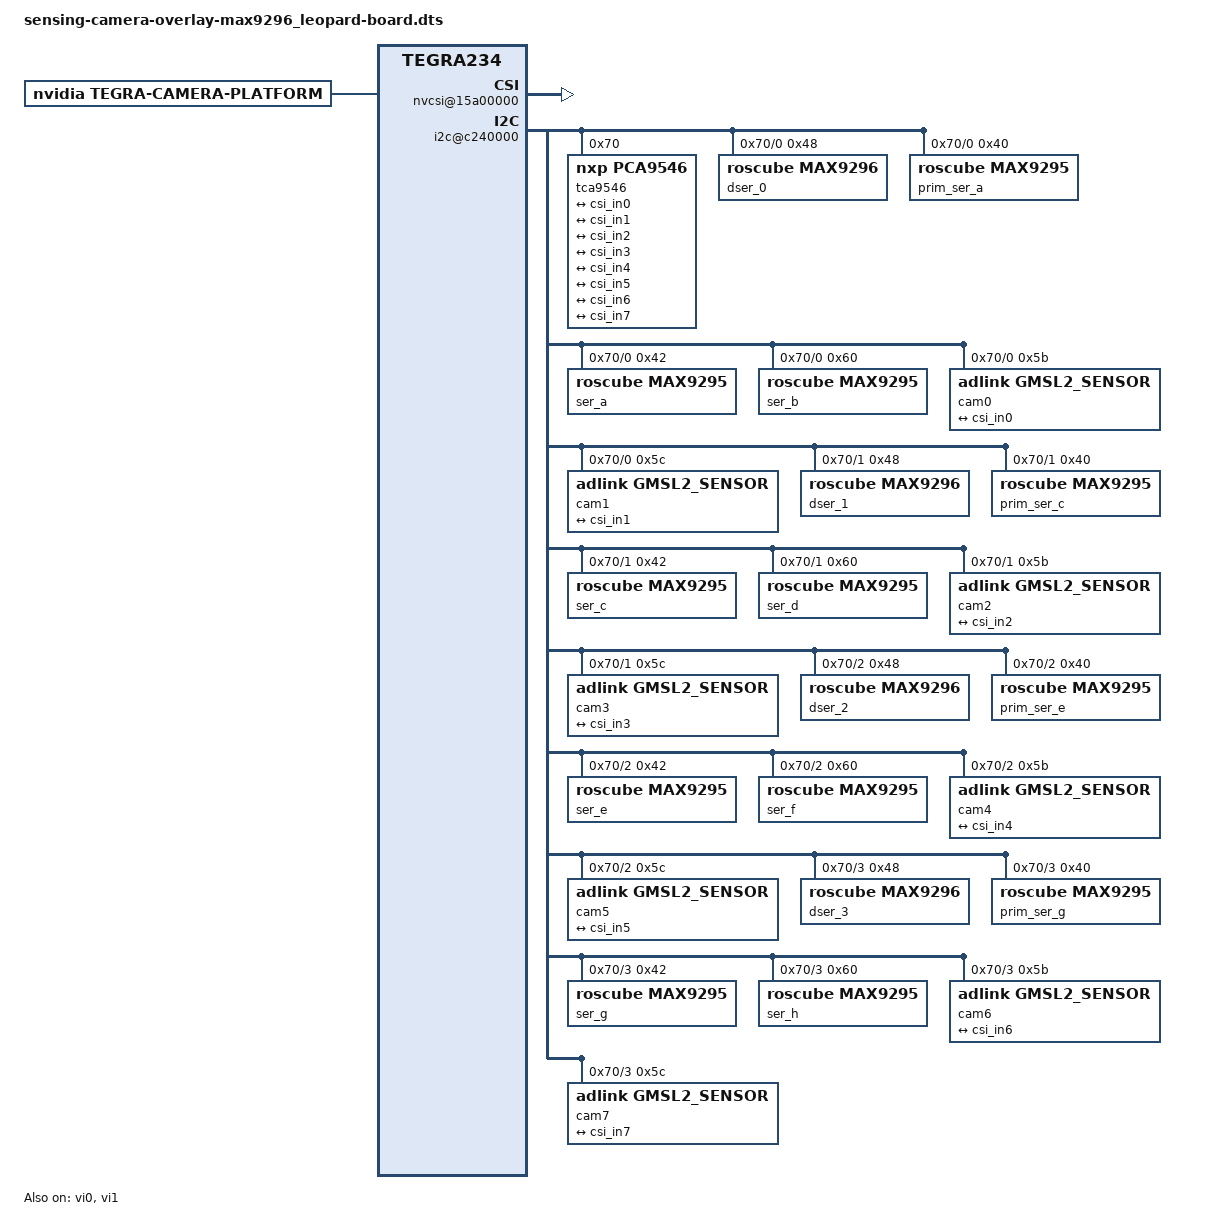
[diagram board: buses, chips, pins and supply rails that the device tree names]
/dts-v1/;
/plugin/;
 
/*
 * Copyright (c) 2017-2022, NVIDIA CORPORATION.  All rights reserved.
 *
 * This program is free software; you can redistribute it and/or modify it
 * under the terms and conditions of the GNU General Public License,
 * version 2, as published by the Free Software Foundation.
 *
 * This program is distributed in the hope it will be useful, but WITHOUT
 * ANY WARRANTY; without even the implied warranty of MERCHANTABILITY or
 * FITNESS FOR A PARTICULAR PURPOSE.  See the GNU General Public License for
 * more details.
 *
 * You should have received a copy of the GNU General Public License
 * along with this program.  If not, see <http://www.gnu.org/licenses/>.
 */
 
/ {
    overlay-name = "Sensing GMSL2 Camera Device Tree Overlay";
    compatible = "nvidia,p3737-0000+p3701-0000", "nvidia,tegra234", "nvidia,tegra23x";
    jetson-header-name = "Jetson AGX CSI Connector";


// ----- for VI -----
    fragment@0 {
      target = <&vi0>;
      __overlay__ {
        status = "okay";
      };
    };

    fragment@1 {
      target = <&vi1>;
      __overlay__ {
        status = "okay";
      };
    };

    fragment@2 {
      target-path = "/tegra-capture-vi";
      __overlay__ {
        status = "okay";
        num-channels = <8>;
        ports {
          #address-cells = <1>;
          #size-cells = <0>;
          port@0 {
            reg = <0>;
            vi_in0: endpoint {
              port-index = <0>;
              bus-width = <2>;
              vc-id = <0>;
              remote-endpoint = <&csi_out0>;
            };
          };
          port@1 {
            reg = <1>;
            vi_in1: endpoint {
              port-index = <0>;
              bus-width = <2>;
              vc-id = <1>;
              remote-endpoint = <&csi_out1>;
            };
          };
          port@2 {
            reg = <2>;
            vi_in2: endpoint {
              port-index = <2>;
              bus-width = <2>;
              vc-id = <0>;
              remote-endpoint = <&csi_out2>;
            };
          };
          port@3 {
            reg = <3>;
            vi_in3: endpoint {
              port-index = <2>;
              bus-width = <2>;
              vc-id = <1>;
              remote-endpoint = <&csi_out3>;
            };
          };
          port@4 {
            reg = <4>;
            vi_in4: endpoint {
              port-index = <4>;
              bus-width = <2>;
              vc-id = <0>;
              remote-endpoint = <&csi_out4>;
            };
          };
          port@5 {
            reg = <5>;
            vi_in5: endpoint {
              port-index = <4>;
              bus-width = <2>;
              vc-id = <1>;
              remote-endpoint = <&csi_out5>;
            };
          };
          port@6 {
            reg = <6>;
            vi_in6: endpoint {
              port-index = <5>;
              bus-width = <2>;
              vc-id = <0>;
              remote-endpoint = <&csi_out6>;
            };
          };
          port@7 {
            reg = <7>;
            vi_in7: endpoint {
              port-index = <5>;
              bus-width = <2>;
              vc-id = <1>;
              remote-endpoint = <&csi_out7>;
            };
          };
        }; // end ports
      }; // end __overlay__
    }; // end fragment

// -----   NVCSI  ------
    fragment@3 {
      target-path = "/host1x@13e00000/nvcsi@15a00000";
      __overlay__ {
        status = "okay";
        #address-cells = <1>;
        #size-cells = <0>;
        num-channels = <8>;
        channel@0 {
          reg = <0>;
          ports {
            #address-cells = <1>;
            #size-cells = <0>;
            port@0 {
              reg = <0>;
              csi_in0: endpoint@0 {
                port-index = <0>;
                bus-width = <2>;
                remote-endpoint = <&camera_out0>;
              };
            };
            port@1 {
              reg = <1>;
              csi_out0: endpoint@1 {
                remote-endpoint = <&vi_in0>;
              };
            };
          };
        };
        channel@1 {
          reg = <1>;
          ports {
            #address-cells = <1>;
            #size-cells = <0>;
            port@0 {
              reg = <0>;
              csi_in1: endpoint@0 {
                port-index = <0>;
                bus-width = <2>;
                remote-endpoint = <&camera_out1>;
              };
            };
            port@1 {
              reg = <1>;
              csi_out1: endpoint@1 {
                remote-endpoint = <&vi_in1>;
              };
            };
          };
        };
        channel@2 {
          reg = <2>;
          ports {
            #address-cells = <1>;
            #size-cells = <0>;
            port@0 {
              reg = <0>;
              csi_in2: endpoint@0 {
                port-index = <2>;
                bus-width = <2>;
                remote-endpoint = <&camera_out2>;
              };
            };
            port@1 {
              reg = <1>;
              csi_out2: endpoint@1 {
                remote-endpoint = <&vi_in2>;
              };
            };
          };
        };
        channel@3 {
          reg = <3>;
          ports {
            #address-cells = <1>;
            #size-cells = <0>;
            port@0 {
              reg = <0>;
              csi_in3: endpoint@0 {
                port-index = <2>;
                bus-width = <2>;
                remote-endpoint = <&camera_out3>;
              };
            };
            port@1 {
              reg = <1>;
              csi_out3: endpoint@1 {
                remote-endpoint = <&vi_in3>;
              };
            };
          };
        };
        channel@4 {
          reg = <4>;
          ports {
            #address-cells = <1>;
            #size-cells = <0>;
            port@0 {
              reg = <0>;
              csi_in4: endpoint@0 {
                port-index = <4>;
                bus-width = <2>;
                remote-endpoint = <&camera_out4>;
              };
            };
            port@1 {
              reg = <1>;
              csi_out4: endpoint@1 {
                remote-endpoint = <&vi_in4>;
              };
            };
          };
        };
        channel@5 {
          reg = <5>;
          ports {
            #address-cells = <1>;
            #size-cells = <0>;
            port@0 {
              reg = <0>;
              csi_in5: endpoint@0 {
                port-index = <4>;
                bus-width = <2>;
                remote-endpoint = <&camera_out5>;
              };
            };
            port@1 {
              reg = <1>;
              csi_out5: endpoint@1 {
                remote-endpoint = <&vi_in5>;
              };
            };
          };
        };
        channel@6 {
          reg = <6>;
          ports {
            #address-cells = <1>;
            #size-cells = <0>;
            port@0 {
              reg = <0>;
              csi_in6: endpoint@0 {
                port-index = <6>;
                bus-width = <2>;
                remote-endpoint = <&camera_out6>;
              };
            };
            port@1 {
              reg = <1>;
              csi_out6: endpoint@1 {
                remote-endpoint = <&vi_in6>;
              };
            };
          };
        };
        channel@7 {
          reg = <7>;
          ports {
            #address-cells = <1>;
            #size-cells = <0>;
            port@0 {
              reg = <0>;
              csi_in7: endpoint@0 {
                port-index = <6>;
                bus-width = <2>;
                remote-endpoint = <&camera_out7>;
              };
            };
            port@1 {
              reg = <1>;
              csi_out7: endpoint@1 {
                remote-endpoint = <&vi_in7>;
              };
            };
          };
        }; // end channel@7
      }; // end __overlay__
    }; // end fragment

// for camera sensor and SerDes
    fragment@4 {
      target-path = "/i2c@c240000";
      __overlay__ {
        tca9546@70 {
          status = "okay";
          compatible = "nxp,pca9546";
          #address-cells = <1>;
          #size-cells = <0>;
          reg = <0x70>;
          skip_mux_detect = "yes";
          force_bus_start = <0x1e>;

          mux_i2c_0: i2c@0 {
            #address-cells = <1>;
            #size-cells = <0>;
            reg = <0>;
            i2c-mux,deselect-on-exit;
          };
          mux_i2c_1: i2c@1 {
            #address-cells = <1>;
            #size-cells = <0>;
            reg = <1>;
            i2c-mux,deselect-on-exit;
          };
          mux_i2c_2: i2c@2 {
            #address-cells = <1>;
            #size-cells = <0>;
            reg = <2>;
            i2c-mux,deselect-on-exit;
          };
          mux_i2c_3: i2c@3 {
            #address-cells = <1>;
            #size-cells = <0>;
            reg = <3>;
            i2c-mux,deselect-on-exit;
          };
        };
      }; // end __overlay__
    }; // end fragment

    fragment@5 {
        target = <&mux_i2c_0>;
        __overlay__ {
          dser_0: max9296@48 {
            status = "okay";
            compatible = "roscube,max9296";
            reg = <0x48>;
            csi-mode = "2x4";
            max-src = <2>;
          };
          prim_ser_a: max9295@62 {
            status = "okay";
            compatible = "roscube,max9295";
            reg = <0x40>;
            is-prim-ser;
          };
          ser_a: max9295@42 {
            status = "okay";
            compatible = "roscube,max9295";
            reg = <0x42>;
            nvidia,gmsl-dser-device = <&dser_0>;
            prim-parent = <&prim_ser_a>;
          };
          ser_b: max9295@60 {
            status = "okay";
            compatible = "roscube,max9295";
            reg = <0x60>;
            nvidia,gmsl-dser-device = <&dser_0>;
            prim-parent = <&prim_ser_a>;
          };
          cam0 {
            status = "okay";
            compatible = "adlink,gmsl2_sensor";
            def-addr = <0x1a>;
            // TEGRA234_CLK_EXTPERIPH1 = 36
            clocks = <&bpmp 36>, <&bpmp 36>;
            clock-names = "extperiph1", "pllp_grtba";
            mclk = "extperiph1";
            nvidia,gmsl-ser-device = <&ser_a>;
            nvidia,gmsl-dser-device = <&dser_0>;
            reg = <0x5b>;
            physical_w = "15.0";
            physical_h = "12.5";
            sensor_model ="gmsl2_sensor";
            post_crop_frame_drop = "0";
            use_decibel_gain = "true";
            use_sensor_mode_id = "false";
            
            // SG5W2-IMX490C-5300
            mode0 {
      			  mclk_khz = "24000";
      			  num_lanes = "2";
      			  tegra_sinterface = "serial_a";
      			  vc_id = "0";
      			  discontinuous_clk = "no";
      			  dpcm_enable = "false";
      			  cil_settletime = "0";
      			  dynamic_pixel_bit_depth = "16";
      			  csi_pixel_bit_depth = "16";
      			  mode_type = "yuv";
      			  pixel_phase = "uyvy";
      
      			  active_w = "2880";
      			  active_h = "1860";
      			  readout_orientation = "0";
      			  line_length = "2880";
      			  inherent_gain = "1";
      			  mclk_multiplier = "6.696";
      			  pix_clk_hz = "160704000";
      			  serdes_pix_clk_hz = "312500000";
      
      				gain_factor = "10";
      				min_gain_val = "1"; /* dB */
      				max_gain_val = "300"; /* dB */
      				step_gain_val = "3"; /* 0.3 */
      				default_gain = "0";
      				min_hdr_ratio = "1";
      				max_hdr_ratio = "1";
      				framerate_factor = "1000000";
      				min_framerate = "30000000";
      				max_framerate = "30000000";
      				step_framerate = "1";
      				default_framerate = "30000000";
      				exposure_factor = "1000000";
      				min_exp_time = "59"; /*us, 2 lines*/
      				max_exp_time = "33333";
      				step_exp_time = "1";
      				default_exp_time = "33333";/* us */
      				embedded_metadata_height = "0";
      			};
      			
      			// SG8W1-OX08BC-5300
  					mode1 {
  						mclk_khz = "24000";
  						num_lanes = "2";
  						tegra_sinterface = "serial_a";
  						vc_id = "0";
  						discontinuous_clk = "yes";
  						dpcm_enable = "false";
  						cil_settletime = "0";
  						dynamic_pixel_bit_depth = "16";
  						csi_pixel_bit_depth = "16";
  						mode_type = "yuv";
  						pixel_phase = "uyvy";
  
  						active_w = "3840";
  						active_h = "2160";
  						readout_orientation = "0";
  						line_length = "3840";
  						inherent_gain = "1";
  						mclk_multiplier = "10.368";
  						pix_clk_hz = "248832000";
  						serdes_pix_clk_hz = "300000000";
  
  						gain_factor = "10";
  						min_gain_val = "0"; /* dB */
  						max_gain_val = "300"; /* dB */
  						step_gain_val = "3"; /* 0.3 */
  						default_gain = "0";
  						min_hdr_ratio = "1";
  						max_hdr_ratio = "1";
  						framerate_factor = "1000000";
  						min_framerate = "30000000";
  						max_framerate = "30000000";
  						step_framerate = "1";
  						default_framerate = "30000000";
  						exposure_factor = "1000000";
  						min_exp_time = "59"; /*us, 2 lines*/
  						max_exp_time = "33333";
  						step_exp_time = "1";
  						default_exp_time = "33333";/* us */
  						embedded_metadata_height = "0";
  					};
  
            // SG3-ISX031C
  					mode2 {
  						mclk_khz = "24000";
  						num_lanes = "2";
  						tegra_sinterface = "serial_a";
  						vc_id = "0";
  						discontinuous_clk = "no";
  						dpcm_enable = "false";
  						cil_settletime = "0";
  						dynamic_pixel_bit_depth = "16";
  						csi_pixel_bit_depth = "16";
  						mode_type = "yuv";
  						pixel_phase = "uyvy";
  
  						active_w = "1920";
  						active_h = "1536";
  						readout_orientation = "0";
  						line_length = "1920";
  						inherent_gain = "1";
  						mclk_multiplier = "3.6864";
  						pix_clk_hz = "88473600";
  						serdes_pix_clk_hz = "312500000";
  
  						gain_factor = "10";
  						min_gain_val = "0"; /* dB */
  						max_gain_val = "300"; /* dB */
  						step_gain_val = "3"; /* 0.3 */
  						default_gain = "0";
  						min_hdr_ratio = "1";
  						max_hdr_ratio = "1";
  						framerate_factor = "1000000";
  						min_framerate = "30000000";
  						max_framerate = "30000000";
  						step_framerate = "1";
  						default_framerate = "30000000";
  						exposure_factor = "1000000";
  						min_exp_time = "59"; /*us, 2 lines*/
  						max_exp_time = "33333";
  						step_exp_time = "1";
  						default_exp_time = "33333";/* us */
  						embedded_metadata_height = "0";
  					};
					
            ports {
              #address-cells = <1>;
              #size-cells = <0>;
              port@0 {
                reg = <0>;
                camera_out0: endpoint {
                  vc-id = <0>;
                  port-index = <0>;
                  bus-width = <2>;
                  remote-endpoint = <&csi_in0>;
                };
              };
            };
            gmsl-link {
              src-csi-port = "b";
              dst-csi-port = "a";
              serdes-csi-link = "a";
              csi-mode = "1x4";
              st-vc = <0>;
              vc-id = <0>;
              num-lanes = <2>;
              streams = "ued-u1", "yuv8";
            };
          };
          cam1 {
            status = "okay";
            compatible = "adlink,gmsl2_sensor";
            def-addr = <0x1a>;
            // TEGRA234_CLK_EXTPERIPH1 = 36
            clocks = <&bpmp 36>, <&bpmp 36>;
            clock-names = "extperiph1", "pllp_grtba";
            mclk = "extperiph1";
            nvidia,gmsl-ser-device = <&ser_b>;
            nvidia,gmsl-dser-device = <&dser_0>;
            reg = <0x5c>;
            physical_w = "15.0";
            physical_h = "12.5";
            sensor_model ="gmsl2_sensor";
            post_crop_frame_drop = "0";
            use_decibel_gain = "true";
            use_sensor_mode_id = "false";
            
            // SG5W2-IMX490C-5300
            mode0 {
      			  mclk_khz = "24000";
      			  num_lanes = "2";
      			  tegra_sinterface = "serial_a";
      			  vc_id = "1";
      			  discontinuous_clk = "no";
      			  dpcm_enable = "false";
      			  cil_settletime = "0";
      			  dynamic_pixel_bit_depth = "16";
      			  csi_pixel_bit_depth = "16";
      			  mode_type = "yuv";
      			  pixel_phase = "uyvy";
      
      			  active_w = "2880";
      			  active_h = "1860";
      			  readout_orientation = "0";
      			  line_length = "2880";
      			  inherent_gain = "1";
      			  mclk_multiplier = "6.696";
      			  pix_clk_hz = "160704000";
      			  serdes_pix_clk_hz = "312500000";
      
      				gain_factor = "10";
      				min_gain_val = "1"; /* dB */
      				max_gain_val = "300"; /* dB */
      				step_gain_val = "3"; /* 0.3 */
      				default_gain = "0";
      				min_hdr_ratio = "1";
      				max_hdr_ratio = "1";
      				framerate_factor = "1000000";
      				min_framerate = "30000000";
      				max_framerate = "30000000";
      				step_framerate = "1";
      				default_framerate = "30000000";
      				exposure_factor = "1000000";
      				min_exp_time = "59"; /*us, 2 lines*/
      				max_exp_time = "33333";
      				step_exp_time = "1";
      				default_exp_time = "33333";/* us */
      				embedded_metadata_height = "0";
      			};
      			
      			// SG8W1-OX08BC-5300
  					mode1 {
  						mclk_khz = "24000";
  						num_lanes = "2";
  						tegra_sinterface = "serial_a";
  						vc_id = "1";
  						discontinuous_clk = "yes";
  						dpcm_enable = "false";
  						cil_settletime = "0";
  						dynamic_pixel_bit_depth = "16";
  						csi_pixel_bit_depth = "16";
  						mode_type = "yuv";
  						pixel_phase = "uyvy";
  
  						active_w = "3840";
  						active_h = "2160";
  						readout_orientation = "0";
  						line_length = "3840";
  						inherent_gain = "1";
  						mclk_multiplier = "10.368";
  						pix_clk_hz = "248832000";
  						serdes_pix_clk_hz = "300000000";
  
  						gain_factor = "10";
  						min_gain_val = "0"; /* dB */
  						max_gain_val = "300"; /* dB */
  						step_gain_val = "3"; /* 0.3 */
  						default_gain = "0";
  						min_hdr_ratio = "1";
  						max_hdr_ratio = "1";
  						framerate_factor = "1000000";
  						min_framerate = "30000000";
  						max_framerate = "30000000";
  						step_framerate = "1";
  						default_framerate = "30000000";
  						exposure_factor = "1000000";
  						min_exp_time = "59"; /*us, 2 lines*/
  						max_exp_time = "33333";
  						step_exp_time = "1";
  						default_exp_time = "33333";/* us */
  						embedded_metadata_height = "0";
  					};
  
            // SG3-ISX031C
  					mode2 {
  						mclk_khz = "24000";
  						num_lanes = "2";
  						tegra_sinterface = "serial_a";
  						vc_id = "1";
  						discontinuous_clk = "no";
  						dpcm_enable = "false";
  						cil_settletime = "0";
  						dynamic_pixel_bit_depth = "16";
  						csi_pixel_bit_depth = "16";
  						mode_type = "yuv";
  						pixel_phase = "uyvy";
  
  						active_w = "1920";
  						active_h = "1536";
  						readout_orientation = "0";
  						line_length = "1920";
  						inherent_gain = "1";
  						mclk_multiplier = "3.6864";
  						pix_clk_hz = "88473600";
  						serdes_pix_clk_hz = "312500000";
  
  						gain_factor = "10";
  						min_gain_val = "0"; /* dB */
  						max_gain_val = "300"; /* dB */
  						step_gain_val = "3"; /* 0.3 */
  						default_gain = "0";
  						min_hdr_ratio = "1";
  						max_hdr_ratio = "1";
  						framerate_factor = "1000000";
  						min_framerate = "30000000";
  						max_framerate = "30000000";
  						step_framerate = "1";
  						default_framerate = "30000000";
  						exposure_factor = "1000000";
  						min_exp_time = "59"; /*us, 2 lines*/
  						max_exp_time = "33333";
  						step_exp_time = "1";
  						default_exp_time = "33333";/* us */
  						embedded_metadata_height = "0";
  					};
					
            ports {
              #address-cells = <1>;
              #size-cells = <0>;
              port@0 {
                reg = <0>;
                camera_out1: endpoint {
                  vc-id = <1>;
                  port-index = <0>;
                  bus-width = <2>;
                  remote-endpoint = <&csi_in1>;
                };
              };
            };
            gmsl-link {
              src-csi-port = "b";
              dst-csi-port = "a";
              serdes-csi-link = "b";
              csi-mode = "1x4";
              st-vc = <0>;
              vc-id = <1>;
              num-lanes = <2>;
              streams = "ued-u1", "yuv8";
            };                      
          };
        };
    };

    fragment@6 {
      target = <&mux_i2c_1>;
      __overlay__ {
        dser_1: max9296@48 {
          status = "okay";
          compatible = "roscube,max9296";
          reg = <0x48>;
          csi-mode = "2x4";
          max-src = <2>;
        };
        prim_ser_c: max9295@62 {
          compatible = "roscube,max9295";
          reg = <0x40>;
          is-prim-ser;
        };
        ser_c: max9295@42 {
          compatible = "roscube,max9295";
          reg = <0x42>;
          nvidia,gmsl-dser-device = <&dser_1>;
          prim-parent = <&prim_ser_c>;
        };
        ser_d: max9295@60 {
          compatible = "roscube,max9295";
          reg = <0x60>;
          nvidia,gmsl-dser-device = <&dser_1>;
          prim-parent = <&prim_ser_c>;
        };
        cam2 {
          status = "okay";
          compatible = "adlink,gmsl2_sensor";
          def-addr = <0x1a>;
          // TEGRA234_CLK_EXTPERIPH1 = 36
          clocks = <&bpmp 36>, <&bpmp 36>;
          clock-names = "extperiph1", "pllp_grtba";
          mclk = "extperiph1";
          nvidia,gmsl-ser-device = <&ser_c>;
          nvidia,gmsl-dser-device = <&dser_1>;
          reg = <0x5b>;
        
          physical_w = "15.0";
          physical_h = "12.5";
          sensor_model ="gmsl2_sensor";
          post_crop_frame_drop = "0";
          use_decibel_gain = "true";
          use_sensor_mode_id = "false";
          
          // SG5W2-IMX490C-5300
          mode0 {
    			  mclk_khz = "24000";
    			  num_lanes = "2";
    			  tegra_sinterface = "serial_c";
    			  vc_id = "0";
    			  discontinuous_clk = "no";
    			  dpcm_enable = "false";
    			  cil_settletime = "0";
    			  dynamic_pixel_bit_depth = "16";
    			  csi_pixel_bit_depth = "16";
    			  mode_type = "yuv";
    			  pixel_phase = "uyvy";
    
    			  active_w = "2880";
    			  active_h = "1860";
    			  readout_orientation = "0";
    			  line_length = "2880";
    			  inherent_gain = "1";
    			  mclk_multiplier = "6.696";
    			  pix_clk_hz = "160704000";
    			  serdes_pix_clk_hz = "312500000";
    
    				gain_factor = "10";
    				min_gain_val = "1"; /* dB */
    				max_gain_val = "300"; /* dB */
    				step_gain_val = "3"; /* 0.3 */
    				default_gain = "0";
    				min_hdr_ratio = "1";
    				max_hdr_ratio = "1";
    				framerate_factor = "1000000";
    				min_framerate = "30000000";
    				max_framerate = "30000000";
    				step_framerate = "1";
    				default_framerate = "30000000";
    				exposure_factor = "1000000";
    				min_exp_time = "59"; /*us, 2 lines*/
    				max_exp_time = "33333";
    				step_exp_time = "1";
    				default_exp_time = "33333";/* us */
    				embedded_metadata_height = "0";
    			};
    			
    			// SG8W1-OX08BC-5300
					mode1 {
						mclk_khz = "24000";
						num_lanes = "2";
						tegra_sinterface = "serial_c";
						vc_id = "0";
						discontinuous_clk = "yes";
						dpcm_enable = "false";
						cil_settletime = "0";
						dynamic_pixel_bit_depth = "16";
						csi_pixel_bit_depth = "16";
						mode_type = "yuv";
						pixel_phase = "uyvy";

						active_w = "3840";
						active_h = "2160";
						readout_orientation = "0";
						line_length = "3840";
						inherent_gain = "1";
						mclk_multiplier = "10.368";
						pix_clk_hz = "248832000";
						serdes_pix_clk_hz = "300000000";

						gain_factor = "10";
						min_gain_val = "0"; /* dB */
						max_gain_val = "300"; /* dB */
						step_gain_val = "3"; /* 0.3 */
						default_gain = "0";
						min_hdr_ratio = "1";
						max_hdr_ratio = "1";
						framerate_factor = "1000000";
						min_framerate = "30000000";
						max_framerate = "30000000";
						step_framerate = "1";
						default_framerate = "30000000";
						exposure_factor = "1000000";
						min_exp_time = "59"; /*us, 2 lines*/
						max_exp_time = "33333";
						step_exp_time = "1";
						default_exp_time = "33333";/* us */
						embedded_metadata_height = "0";
					};

          // SG3-ISX031C
					mode2 {
						mclk_khz = "24000";
						num_lanes = "2";
						tegra_sinterface = "serial_c";
						vc_id = "0";
						discontinuous_clk = "no";
						dpcm_enable = "false";
						cil_settletime = "0";
						dynamic_pixel_bit_depth = "16";
						csi_pixel_bit_depth = "16";
						mode_type = "yuv";
						pixel_phase = "uyvy";

						active_w = "1920";
						active_h = "1536";
						readout_orientation = "0";
						line_length = "1920";
						inherent_gain = "1";
						mclk_multiplier = "3.6864";
						pix_clk_hz = "88473600";
						serdes_pix_clk_hz = "312500000";

						gain_factor = "10";
						min_gain_val = "0"; /* dB */
						max_gain_val = "300"; /* dB */
						step_gain_val = "3"; /* 0.3 */
						default_gain = "0";
						min_hdr_ratio = "1";
						max_hdr_ratio = "1";
						framerate_factor = "1000000";
						min_framerate = "30000000";
						max_framerate = "30000000";
						step_framerate = "1";
						default_framerate = "30000000";
						exposure_factor = "1000000";
						min_exp_time = "59"; /*us, 2 lines*/
						max_exp_time = "33333";
						step_exp_time = "1";
						default_exp_time = "33333";/* us */
						embedded_metadata_height = "0";
					};
    			
          ports {
            #address-cells = <1>;
            #size-cells = <0>;
            port@0 {
              reg = <0>;
              camera_out2: endpoint {
                vc-id = <0>;
                port-index = <2>;
                bus-width = <2>;
                remote-endpoint = <&csi_in2>;
              };
            };
          };
          gmsl-link {
            src-csi-port = "b";
            dst-csi-port = "a";
            serdes-csi-link = "a";
            csi-mode = "1x4";
            st-vc = <0>;
            vc-id = <0>;
            num-lanes = <2>;
            streams = "ued-u1", "yuv8";
          };
        };
        cam3 {
          status = "okay";
          compatible = "adlink,gmsl2_sensor";
          def-addr = <0x1a>;
          // TEGRA234_CLK_EXTPERIPH1 = 36
          clocks = <&bpmp 36>, <&bpmp 36>;
          clock-names = "extperiph1", "pllp_grtba";
          mclk = "extperiph1";
          nvidia,gmsl-ser-device = <&ser_d>;
          nvidia,gmsl-dser-device = <&dser_1>;
          reg = <0x5c>;
          physical_w = "15.0";
          physical_h = "12.5";
          sensor_model ="gmsl2_sensor";
          post_crop_frame_drop = "0";
          use_decibel_gain = "true";
          use_sensor_mode_id = "false";
          
          // SG5W2-IMX490C-5300
          mode0 {
    			  mclk_khz = "24000";
    			  num_lanes = "2";
    			  tegra_sinterface = "serial_c";
    			  vc_id = "1";
    			  discontinuous_clk = "no";
    			  dpcm_enable = "false";
    			  cil_settletime = "0";
    			  dynamic_pixel_bit_depth = "16";
    			  csi_pixel_bit_depth = "16";
    			  mode_type = "yuv";
    			  pixel_phase = "uyvy";
    
    			  active_w = "2880";
    			  active_h = "1860";
    			  readout_orientation = "0";
    			  line_length = "2880";
    			  inherent_gain = "1";
    			  mclk_multiplier = "6.696";
    			  pix_clk_hz = "160704000";
    			  serdes_pix_clk_hz = "312500000";
    
    				gain_factor = "10";
    				min_gain_val = "1"; /* dB */
    				max_gain_val = "300"; /* dB */
    				step_gain_val = "3"; /* 0.3 */
    				default_gain = "0";
    				min_hdr_ratio = "1";
    				max_hdr_ratio = "1";
    				framerate_factor = "1000000";
    				min_framerate = "30000000";
    				max_framerate = "30000000";
    				step_framerate = "1";
    				default_framerate = "30000000";
    				exposure_factor = "1000000";
    				min_exp_time = "59"; /*us, 2 lines*/
    				max_exp_time = "33333";
    				step_exp_time = "1";
    				default_exp_time = "33333";/* us */
    				embedded_metadata_height = "0";
    			};
    			
    			// SG8W1-OX08BC-5300
					mode1 {
						mclk_khz = "24000";
						num_lanes = "2";
						tegra_sinterface = "serial_c";
						vc_id = "1";
						discontinuous_clk = "yes";
						dpcm_enable = "false";
						cil_settletime = "0";
						dynamic_pixel_bit_depth = "16";
						csi_pixel_bit_depth = "16";
						mode_type = "yuv";
						pixel_phase = "uyvy";

						active_w = "3840";
						active_h = "2160";
						readout_orientation = "0";
						line_length = "3840";
						inherent_gain = "1";
						mclk_multiplier = "10.368";
						pix_clk_hz = "248832000";
						serdes_pix_clk_hz = "300000000";

						gain_factor = "10";
						min_gain_val = "0"; /* dB */
						max_gain_val = "300"; /* dB */
						step_gain_val = "3"; /* 0.3 */
						default_gain = "0";
						min_hdr_ratio = "1";
						max_hdr_ratio = "1";
						framerate_factor = "1000000";
						min_framerate = "30000000";
						max_framerate = "30000000";
						step_framerate = "1";
						default_framerate = "30000000";
						exposure_factor = "1000000";
						min_exp_time = "59"; /*us, 2 lines*/
						max_exp_time = "33333";
						step_exp_time = "1";
						default_exp_time = "33333";/* us */
						embedded_metadata_height = "0";
					};

          // SG3-ISX031C
					mode2 {
						mclk_khz = "24000";
						num_lanes = "2";
						tegra_sinterface = "serial_c";
						vc_id = "1";
						discontinuous_clk = "no";
						dpcm_enable = "false";
						cil_settletime = "0";
						dynamic_pixel_bit_depth = "16";
						csi_pixel_bit_depth = "16";
						mode_type = "yuv";
						pixel_phase = "uyvy";

						active_w = "1920";
						active_h = "1536";
						readout_orientation = "0";
						line_length = "1920";
						inherent_gain = "1";
						mclk_multiplier = "3.6864";
						pix_clk_hz = "88473600";
						serdes_pix_clk_hz = "312500000";

						gain_factor = "10";
						min_gain_val = "0"; /* dB */
						max_gain_val = "300"; /* dB */
						step_gain_val = "3"; /* 0.3 */
						default_gain = "0";
						min_hdr_ratio = "1";
						max_hdr_ratio = "1";
						framerate_factor = "1000000";
						min_framerate = "30000000";
						max_framerate = "30000000";
						step_framerate = "1";
						default_framerate = "30000000";
						exposure_factor = "1000000";
						min_exp_time = "59"; /*us, 2 lines*/
						max_exp_time = "33333";
						step_exp_time = "1";
						default_exp_time = "33333";/* us */
						embedded_metadata_height = "0";
					};
					
          ports {
            #address-cells = <1>;
            #size-cells = <0>;
            port@0 {
              reg = <0>;
              camera_out3: endpoint {
                vc-id = <1>;
                port-index = <2>;
                bus-width = <2>;
                remote-endpoint = <&csi_in3>;
              };
            };
          };
          gmsl-link {
            src-csi-port = "b";
            dst-csi-port = "a";
            serdes-csi-link = "b";
            csi-mode = "1x4";
            st-vc = <0>;
            vc-id = <1>;
            num-lanes = <2>;
            streams = "ued-u1", "yuv8";
          };
        };
      };
    };
    
    fragment@7 {
      target = <&mux_i2c_2>;
      __overlay__ {
        dser_2: max9296@48 {
          status = "okay";
          compatible = "roscube,max9296";
          reg = <0x48>;
          csi-mode = "2x4";
          max-src = <2>;
        };
        prim_ser_e: max9295@62 {
          compatible = "roscube,max9295";
          reg = <0x40>;
          is-prim-ser;
        };
        ser_e: max9295@42 {
          compatible = "roscube,max9295";
          reg = <0x42>;
          nvidia,gmsl-dser-device = <&dser_2>;
          prim-parent = <&prim_ser_e>;
        };
        ser_f: max9295@60 {
          compatible = "roscube,max9295";
          reg = <0x60>;
          nvidia,gmsl-dser-device = <&dser_2>;
          prim-parent = <&prim_ser_e>;
        };
        cam4 {
          status = "okay";
          compatible = "adlink,gmsl2_sensor";
          def-addr = <0x1a>;
          // TEGRA234_CLK_EXTPERIPH1 = 36
          clocks = <&bpmp 36>, <&bpmp 36>;
          clock-names = "extperiph1", "pllp_grtba";
          mclk = "extperiph1";
          nvidia,gmsl-ser-device = <&ser_e>;
          nvidia,gmsl-dser-device = <&dser_2>;
          reg = <0x5b>;
          physical_w = "15.0";
          physical_h = "12.5";
          sensor_model ="gmsl2_sensor";
          post_crop_frame_drop = "0";
          use_decibel_gain = "true";
          use_sensor_mode_id = "false";
          
          // SG5W2-IMX490C-5300
          mode0 {
    			  mclk_khz = "24000";
    			  num_lanes = "2";
    			  tegra_sinterface = "serial_e";
    			  vc_id = "0";
    			  discontinuous_clk = "no";
    			  dpcm_enable = "false";
    			  cil_settletime = "0";
    			  dynamic_pixel_bit_depth = "16";
    			  csi_pixel_bit_depth = "16";
    			  mode_type = "yuv";
    			  pixel_phase = "uyvy";
    
    			  active_w = "2880";
    			  active_h = "1860";
    			  readout_orientation = "0";
    			  line_length = "2880";
    			  inherent_gain = "1";
    			  mclk_multiplier = "6.696";
    			  pix_clk_hz = "160704000";
    			  serdes_pix_clk_hz = "312500000";
    
    				gain_factor = "10";
    				min_gain_val = "1"; /* dB */
    				max_gain_val = "300"; /* dB */
    				step_gain_val = "3"; /* 0.3 */
    				default_gain = "0";
    				min_hdr_ratio = "1";
    				max_hdr_ratio = "1";
    				framerate_factor = "1000000";
    				min_framerate = "30000000";
    				max_framerate = "30000000";
    				step_framerate = "1";
    				default_framerate = "30000000";
    				exposure_factor = "1000000";
    				min_exp_time = "59"; /*us, 2 lines*/
    				max_exp_time = "33333";
    				step_exp_time = "1";
    				default_exp_time = "33333";/* us */
    				embedded_metadata_height = "0";
    			};
    			
    			// SG8W1-OX08BC-5300
					mode1 {
						mclk_khz = "24000";
						num_lanes = "2";
						tegra_sinterface = "serial_e";
						vc_id = "0";
						discontinuous_clk = "yes";
						dpcm_enable = "false";
						cil_settletime = "0";
						dynamic_pixel_bit_depth = "16";
						csi_pixel_bit_depth = "16";
						mode_type = "yuv";
						pixel_phase = "uyvy";

						active_w = "3840";
						active_h = "2160";
						readout_orientation = "0";
						line_length = "3840";
						inherent_gain = "1";
						mclk_multiplier = "10.368";
						pix_clk_hz = "248832000";
						serdes_pix_clk_hz = "300000000";

						gain_factor = "10";
						min_gain_val = "0"; /* dB */
						max_gain_val = "300"; /* dB */
						step_gain_val = "3"; /* 0.3 */
						default_gain = "0";
						min_hdr_ratio = "1";
						max_hdr_ratio = "1";
						framerate_factor = "1000000";
						min_framerate = "30000000";
						max_framerate = "30000000";
						step_framerate = "1";
						default_framerate = "30000000";
						exposure_factor = "1000000";
						min_exp_time = "59"; /*us, 2 lines*/
						max_exp_time = "33333";
						step_exp_time = "1";
						default_exp_time = "33333";/* us */
						embedded_metadata_height = "0";
					};

          // SG3-ISX031C
					mode2 {
						mclk_khz = "24000";
						num_lanes = "2";
						tegra_sinterface = "serial_e";
						vc_id = "0";
						discontinuous_clk = "no";
						dpcm_enable = "false";
						cil_settletime = "0";
						dynamic_pixel_bit_depth = "16";
						csi_pixel_bit_depth = "16";
						mode_type = "yuv";
						pixel_phase = "uyvy";

						active_w = "1920";
						active_h = "1536";
						readout_orientation = "0";
						line_length = "1920";
						inherent_gain = "1";
						mclk_multiplier = "3.6864";
						pix_clk_hz = "88473600";
						serdes_pix_clk_hz = "312500000";

						gain_factor = "10";
						min_gain_val = "0"; /* dB */
						max_gain_val = "300"; /* dB */
						step_gain_val = "3"; /* 0.3 */
						default_gain = "0";
						min_hdr_ratio = "1";
						max_hdr_ratio = "1";
						framerate_factor = "1000000";
						min_framerate = "30000000";
						max_framerate = "30000000";
						step_framerate = "1";
						default_framerate = "30000000";
						exposure_factor = "1000000";
						min_exp_time = "59"; /*us, 2 lines*/
						max_exp_time = "33333";
						step_exp_time = "1";
						default_exp_time = "33333";/* us */
						embedded_metadata_height = "0";
					};
					
          ports {
            #address-cells = <1>;
            #size-cells = <0>;
            port@0 {
              reg = <0>;
              camera_out4: endpoint {
                vc-id = <0>;
                port-index = <4>;
                bus-width = <2>;
                remote-endpoint = <&csi_in4>;
              };
            };
          };
          gmsl-link {
            src-csi-port = "b";
            dst-csi-port = "a";
            serdes-csi-link = "a";
            csi-mode = "1x4";
            st-vc = <0>;
            vc-id = <0>;
            num-lanes = <2>;
            streams = "ued-u1", "yuv8";
          };
        };
        cam5 {
          status = "okay";
          compatible = "adlink,gmsl2_sensor";
          def-addr = <0x1a>;
          // TEGRA234_CLK_EXTPERIPH1 = 36
          clocks = <&bpmp 36>, <&bpmp 36>;
          clock-names = "extperiph1", "pllp_grtba";
          mclk = "extperiph1";
          nvidia,gmsl-ser-device = <&ser_f>;
          nvidia,gmsl-dser-device = <&dser_2>;
          reg = <0x5c>;
          physical_w = "15.0";
          physical_h = "12.5";
          sensor_model ="gmsl2_sensor";
          post_crop_frame_drop = "0";
          use_decibel_gain = "true";
          use_sensor_mode_id = "false";
          
          // SG5W2-IMX490C-5300
          mode0 {
    			  mclk_khz = "24000";
    			  num_lanes = "2";
    			  tegra_sinterface = "serial_e";
    			  vc_id = "1";
    			  discontinuous_clk = "no";
    			  dpcm_enable = "false";
    			  cil_settletime = "0";
    			  dynamic_pixel_bit_depth = "16";
    			  csi_pixel_bit_depth = "16";
    			  mode_type = "yuv";
    			  pixel_phase = "uyvy";
    
    			  active_w = "2880";
    			  active_h = "1860";
    			  readout_orientation = "0";
    			  line_length = "2880";
    			  inherent_gain = "1";
    			  mclk_multiplier = "6.696";
    			  pix_clk_hz = "160704000";
    			  serdes_pix_clk_hz = "312500000";
    
    				gain_factor = "10";
    				min_gain_val = "1"; /* dB */
    				max_gain_val = "300"; /* dB */
    				step_gain_val = "3"; /* 0.3 */
    				default_gain = "0";
    				min_hdr_ratio = "1";
    				max_hdr_ratio = "1";
    				framerate_factor = "1000000";
    				min_framerate = "30000000";
    				max_framerate = "30000000";
    				step_framerate = "1";
    				default_framerate = "30000000";
    				exposure_factor = "1000000";
    				min_exp_time = "59"; /*us, 2 lines*/
    				max_exp_time = "33333";
    				step_exp_time = "1";
    				default_exp_time = "33333";/* us */
    				embedded_metadata_height = "0";
    			};
    			
    			// SG8W1-OX08BC-5300
					mode1 {
						mclk_khz = "24000";
						num_lanes = "2";
						tegra_sinterface = "serial_e";
						vc_id = "1";
						discontinuous_clk = "yes";
						dpcm_enable = "false";
						cil_settletime = "0";
						dynamic_pixel_bit_depth = "16";
						csi_pixel_bit_depth = "16";
						mode_type = "yuv";
						pixel_phase = "uyvy";

						active_w = "3840";
						active_h = "2160";
						readout_orientation = "0";
						line_length = "3840";
						inherent_gain = "1";
						mclk_multiplier = "10.368";
						pix_clk_hz = "248832000";
						serdes_pix_clk_hz = "300000000";

						gain_factor = "10";
						min_gain_val = "0"; /* dB */
						max_gain_val = "300"; /* dB */
						step_gain_val = "3"; /* 0.3 */
						default_gain = "0";
						min_hdr_ratio = "1";
						max_hdr_ratio = "1";
						framerate_factor = "1000000";
						min_framerate = "30000000";
						max_framerate = "30000000";
						step_framerate = "1";
						default_framerate = "30000000";
						exposure_factor = "1000000";
						min_exp_time = "59"; /*us, 2 lines*/
						max_exp_time = "33333";
						step_exp_time = "1";
						default_exp_time = "33333";/* us */
						embedded_metadata_height = "0";
					};

          // SG3-ISX031C
					mode2 {
						mclk_khz = "24000";
						num_lanes = "2";
						tegra_sinterface = "serial_e";
						vc_id = "1";
						discontinuous_clk = "no";
						dpcm_enable = "false";
						cil_settletime = "0";
						dynamic_pixel_bit_depth = "16";
						csi_pixel_bit_depth = "16";
						mode_type = "yuv";
						pixel_phase = "uyvy";

						active_w = "1920";
						active_h = "1536";
						readout_orientation = "0";
						line_length = "1920";
						inherent_gain = "1";
						mclk_multiplier = "3.6864";
						pix_clk_hz = "88473600";
						serdes_pix_clk_hz = "312500000";

						gain_factor = "10";
						min_gain_val = "0"; /* dB */
						max_gain_val = "300"; /* dB */
						step_gain_val = "3"; /* 0.3 */
						default_gain = "0";
						min_hdr_ratio = "1";
						max_hdr_ratio = "1";
						framerate_factor = "1000000";
						min_framerate = "30000000";
						max_framerate = "30000000";
						step_framerate = "1";
						default_framerate = "30000000";
						exposure_factor = "1000000";
						min_exp_time = "59"; /*us, 2 lines*/
						max_exp_time = "33333";
						step_exp_time = "1";
						default_exp_time = "33333";/* us */
						embedded_metadata_height = "0";
					};
					
          ports {
            #address-cells = <1>;
            #size-cells = <0>;
            port@0 {
              reg = <0>;
              camera_out5: endpoint {
                vc-id = <1>;
                port-index = <4>;
                bus-width = <2>;
                remote-endpoint = <&csi_in5>;
              };
            };
          };
          gmsl-link {
            src-csi-port = "b";
            dst-csi-port = "a";
            serdes-csi-link = "b";
            csi-mode = "1x4";
            st-vc = <0>;
            vc-id = <1>;
            num-lanes = <2>;
            streams = "ued-u1", "yuv8";
          };
        };
      };
    };
    
    fragment@8 {
      target = <&mux_i2c_3>;
      __overlay__ {
        dser_3: max9296@48 {
          status = "okay";
          compatible = "roscube,max9296";
          reg = <0x48>;
          csi-mode = "2x4";
          max-src = <2>;
        };
        prim_ser_g: max9295@62 {
          compatible = "roscube,max9295";
          reg = <0x40>;
          is-prim-ser;
        };
        ser_g: max9295@42 {
          compatible = "roscube,max9295";
          reg = <0x42>;
          nvidia,gmsl-dser-device = <&dser_3>;
          prim-parent = <&prim_ser_g>;
        };
        ser_h: max9295@60 {
          compatible = "roscube,max9295";
          reg = <0x60>;
          nvidia,gmsl-dser-device = <&dser_3>;
          prim-parent = <&prim_ser_g>;
        };
        cam6 {
          status = "okay";
          compatible = "adlink,gmsl2_sensor";
          def-addr = <0x1a>;
          // TEGRA234_CLK_EXTPERIPH1 = 36
          clocks = <&bpmp 36>, <&bpmp 36>;
          clock-names = "extperiph1", "pllp_grtba";
          mclk = "extperiph1";
          nvidia,gmsl-ser-device = <&ser_g>;
          nvidia,gmsl-dser-device = <&dser_3>;
          reg = <0x5b>;
          physical_w = "15.0";
          physical_h = "12.5";
          sensor_model ="gmsl2_sensor";
          post_crop_frame_drop = "0";
          use_decibel_gain = "true";
          use_sensor_mode_id = "false";
          
          // SG5W2-IMX490C-5300
          mode0 {
    			  mclk_khz = "24000";
    			  num_lanes = "2";
    			  tegra_sinterface = "serial_g";
    			  vc_id = "0";
    			  discontinuous_clk = "no";
    			  dpcm_enable = "false";
    			  cil_settletime = "0";
    			  dynamic_pixel_bit_depth = "16";
    			  csi_pixel_bit_depth = "16";
    			  mode_type = "yuv";
    			  pixel_phase = "uyvy";
    
    			  active_w = "2880";
    			  active_h = "1860";
    			  readout_orientation = "0";
    			  line_length = "2880";
    			  inherent_gain = "1";
    			  mclk_multiplier = "6.696";
    			  pix_clk_hz = "160704000";
    			  serdes_pix_clk_hz = "312500000";
    
    				gain_factor = "10";
    				min_gain_val = "1"; /* dB */
    				max_gain_val = "300"; /* dB */
    				step_gain_val = "3"; /* 0.3 */
    				default_gain = "0";
    				min_hdr_ratio = "1";
    				max_hdr_ratio = "1";
    				framerate_factor = "1000000";
    				min_framerate = "30000000";
    				max_framerate = "30000000";
    				step_framerate = "1";
    				default_framerate = "30000000";
    				exposure_factor = "1000000";
    				min_exp_time = "59"; /*us, 2 lines*/
    				max_exp_time = "33333";
    				step_exp_time = "1";
    				default_exp_time = "33333";/* us */
    				embedded_metadata_height = "0";
    			};
    			
    			// SG8W1-OX08BC-5300
					mode1 {
						mclk_khz = "24000";
						num_lanes = "2";
						tegra_sinterface = "serial_g";
						vc_id = "0";
						discontinuous_clk = "yes";
						dpcm_enable = "false";
						cil_settletime = "0";
						dynamic_pixel_bit_depth = "16";
						csi_pixel_bit_depth = "16";
						mode_type = "yuv";
						pixel_phase = "uyvy";

						active_w = "3840";
						active_h = "2160";
						readout_orientation = "0";
						line_length = "3840";
						inherent_gain = "1";
						mclk_multiplier = "10.368";
						pix_clk_hz = "248832000";
						serdes_pix_clk_hz = "300000000";

						gain_factor = "10";
						min_gain_val = "0"; /* dB */
						max_gain_val = "300"; /* dB */
						step_gain_val = "3"; /* 0.3 */
						default_gain = "0";
						min_hdr_ratio = "1";
						max_hdr_ratio = "1";
						framerate_factor = "1000000";
						min_framerate = "30000000";
						max_framerate = "30000000";
						step_framerate = "1";
						default_framerate = "30000000";
						exposure_factor = "1000000";
						min_exp_time = "59"; /*us, 2 lines*/
						max_exp_time = "33333";
						step_exp_time = "1";
						default_exp_time = "33333";/* us */
						embedded_metadata_height = "0";
					};

          // SG3-ISX031C
					mode2 {
						mclk_khz = "24000";
						num_lanes = "2";
						tegra_sinterface = "serial_g";
						vc_id = "0";
						discontinuous_clk = "no";
						dpcm_enable = "false";
						cil_settletime = "0";
						dynamic_pixel_bit_depth = "16";
						csi_pixel_bit_depth = "16";
						mode_type = "yuv";
						pixel_phase = "uyvy";

						active_w = "1920";
						active_h = "1536";
						readout_orientation = "0";
						line_length = "1920";
						inherent_gain = "1";
						mclk_multiplier = "3.6864";
						pix_clk_hz = "88473600";
						serdes_pix_clk_hz = "312500000";

						gain_factor = "10";
						min_gain_val = "0"; /* dB */
						max_gain_val = "300"; /* dB */
						step_gain_val = "3"; /* 0.3 */
						default_gain = "0";
						min_hdr_ratio = "1";
						max_hdr_ratio = "1";
						framerate_factor = "1000000";
						min_framerate = "30000000";
						max_framerate = "30000000";
						step_framerate = "1";
						default_framerate = "30000000";
						exposure_factor = "1000000";
						min_exp_time = "59"; /*us, 2 lines*/
						max_exp_time = "33333";
						step_exp_time = "1";
						default_exp_time = "33333";/* us */
						embedded_metadata_height = "0";
					};
					
          ports {
            #address-cells = <1>;
            #size-cells = <0>;
            port@0 {
              reg = <0>;
              camera_out6: endpoint {
                vc-id = <0>;
                port-index = <6>;
                bus-width = <2>;
                remote-endpoint = <&csi_in6>;
              };
            };
          };
          gmsl-link {
            src-csi-port = "b";
            dst-csi-port = "a";
            serdes-csi-link = "a";
            csi-mode = "1x4";
            st-vc = <0>;
            vc-id = <0>;
            num-lanes = <2>;
            streams = "ued-u1", "yuv8";
          };
        };
        cam7 {
          status = "okay";
          compatible = "adlink,gmsl2_sensor";
          def-addr = <0x1a>;
          // TEGRA234_CLK_EXTPERIPH1 = 36
          clocks = <&bpmp 36>, <&bpmp 36>;
          clock-names = "extperiph1", "pllp_grtba";
          mclk = "extperiph1";
          nvidia,gmsl-ser-device = <&ser_h>;
          nvidia,gmsl-dser-device = <&dser_3>;
          reg = <0x5c>;
          physical_w = "15.0";
          physical_h = "12.5";
          sensor_model ="gmsl2_sensor";
          post_crop_frame_drop = "0";
          use_decibel_gain = "true";
          use_sensor_mode_id = "false";
          
          // SG5W2-IMX490C-5300
          mode0 {
    			  mclk_khz = "24000";
    			  num_lanes = "2";
    			  tegra_sinterface = "serial_g";
    			  vc_id = "1";
    			  discontinuous_clk = "no";
    			  dpcm_enable = "false";
    			  cil_settletime = "0";
    			  dynamic_pixel_bit_depth = "16";
    			  csi_pixel_bit_depth = "16";
    			  mode_type = "yuv";
    			  pixel_phase = "uyvy";
    
    			  active_w = "2880";
    			  active_h = "1860";
    			  readout_orientation = "0";
    			  line_length = "2880";
    			  inherent_gain = "1";
    			  mclk_multiplier = "6.696";
    			  pix_clk_hz = "160704000";
    			  serdes_pix_clk_hz = "312500000";
    
    				gain_factor = "10";
    				min_gain_val = "1"; /* dB */
    				max_gain_val = "300"; /* dB */
    				step_gain_val = "3"; /* 0.3 */
    				default_gain = "0";
    				min_hdr_ratio = "1";
    				max_hdr_ratio = "1";
    				framerate_factor = "1000000";
    				min_framerate = "30000000";
    				max_framerate = "30000000";
    				step_framerate = "1";
    				default_framerate = "30000000";
    				exposure_factor = "1000000";
    				min_exp_time = "59"; /*us, 2 lines*/
    				max_exp_time = "33333";
    				step_exp_time = "1";
    				default_exp_time = "33333";/* us */
    				embedded_metadata_height = "0";
    			};
    			
    			// SG8W1-OX08BC-5300
					mode1 {
						mclk_khz = "24000";
						num_lanes = "2";
						tegra_sinterface = "serial_g";
						vc_id = "1";
						discontinuous_clk = "yes";
						dpcm_enable = "false";
						cil_settletime = "0";
						dynamic_pixel_bit_depth = "16";
						csi_pixel_bit_depth = "16";
						mode_type = "yuv";
						pixel_phase = "uyvy";

						active_w = "3840";
						active_h = "2160";
						readout_orientation = "0";
						line_length = "3840";
						inherent_gain = "1";
						mclk_multiplier = "10.368";
						pix_clk_hz = "248832000";
						serdes_pix_clk_hz = "300000000";

						gain_factor = "10";
						min_gain_val = "0"; /* dB */
						max_gain_val = "300"; /* dB */
						step_gain_val = "3"; /* 0.3 */
						default_gain = "0";
						min_hdr_ratio = "1";
						max_hdr_ratio = "1";
						framerate_factor = "1000000";
						min_framerate = "30000000";
						max_framerate = "30000000";
						step_framerate = "1";
						default_framerate = "30000000";
						exposure_factor = "1000000";
						min_exp_time = "59"; /*us, 2 lines*/
						max_exp_time = "33333";
						step_exp_time = "1";
						default_exp_time = "33333";/* us */
						embedded_metadata_height = "0";
					};

          // SG3-ISX031C
					mode2 {
						mclk_khz = "24000";
						num_lanes = "2";
						tegra_sinterface = "serial_g";
						vc_id = "1";
						discontinuous_clk = "no";
						dpcm_enable = "false";
						cil_settletime = "0";
						dynamic_pixel_bit_depth = "16";
						csi_pixel_bit_depth = "16";
						mode_type = "yuv";
						pixel_phase = "uyvy";

						active_w = "1920";
						active_h = "1536";
						readout_orientation = "0";
						line_length = "1920";
						inherent_gain = "1";
						mclk_multiplier = "3.6864";
						pix_clk_hz = "88473600";
						serdes_pix_clk_hz = "312500000";

						gain_factor = "10";
						min_gain_val = "0"; /* dB */
						max_gain_val = "300"; /* dB */
						step_gain_val = "3"; /* 0.3 */
						default_gain = "0";
						min_hdr_ratio = "1";
						max_hdr_ratio = "1";
						framerate_factor = "1000000";
						min_framerate = "30000000";
						max_framerate = "30000000";
						step_framerate = "1";
						default_framerate = "30000000";
						exposure_factor = "1000000";
						min_exp_time = "59"; /*us, 2 lines*/
						max_exp_time = "33333";
						step_exp_time = "1";
						default_exp_time = "33333";/* us */
						embedded_metadata_height = "0";
					};
					
          ports {
            #address-cells = <1>;
            #size-cells = <0>;
            port@0 {
              reg = <0>;
              camera_out7: endpoint {
                vc-id = <1>;
                port-index = <6>;
                bus-width = <2>;
                remote-endpoint = <&csi_in7>;
              };
            };
          };
          gmsl-link {
            src-csi-port = "b";
            dst-csi-port = "a";
            serdes-csi-link = "b";
            csi-mode = "1x4";
            st-vc = <0>;
            vc-id = <1>;
            num-lanes = <2>;
            streams = "ued-u1", "yuv8";
          };
        };
      };
    };
    
    fragment@9 {
      target-path = "/";
      __overlay__ {
        tegra-camera-platform {
          compatible = "nvidia, tegra-camera-platform";
          status = "okay";
          num_csi_lanes = <16>;
          max_lane_speed = <4000000>;
          min_bits_per_pixel = <10>;
          vi_peak_byte_per_pixel = <2>;
          vi_bw_margin_pct = <25>;
          // max_pixel_rate = <160000>;
          isp_peak_byte_per_pixel = <5>;
          isp_bw_margin_pct = <25>;

          modules {
            camera_module0: module0 {
              status = "okay";
              badge = "gmsl2_sensor_0";
              position = "rear";
              orientation = "1";
              drivernode0 {
                status = "okay";
                pcl_id = "v4l2_sensor";
                devname = "gmsl2_sensor 30-005b";
                proc-device-tree = "/proc/device-tree/i2c@c240000/tca9546@70/i2c@0/cam0";
              };
            };

            camera_module1: module1 {
              status = "okay";
              badge = "gmsl2_sensor_1";
              position = "front";
              orientation = "1";
              drivernode0 {
                status = "okay";
                pcl_id = "v4l2_sensor";
                devname = "gmsl2_sensor 30-005c";
                proc-device-tree = "/proc/device-tree/i2c@c240000/tca9546@70/i2c@0/cam1";
              };
            };

            camera_module2: module2 {
              status = "okay";
              badge = "gmsl2_sensor_2";
              position = "topright";
              orientation = "1";
              drivernode0 {
                status = "okay";
                pcl_id = "v4l2_sensor";
                devname = "gmsl2_sensor 31-005b";
                proc-device-tree = "/proc/device-tree/i2c@c240000/tca9546@70/i2c@1/cam2";
              };
            };

            camera_module3: module3 {
              status = "okay";
              badge = "gmsl2_sensor_3";
              position = "bottomright";
              orientation = "1";
              drivernode0 {
                status = "okay";
                pcl_id = "v4l2_sensor";
                devname = "gmsl2_sensor 31-005c";
                proc-device-tree = "/proc/device-tree/i2c@c240000/tca9546@70/i2c@1/cam3";
              };
            };

            camera_module4: module4 {
              status = "okay";
              badge = "gmsl2_sensor_4";
              position = "topleft";
              orientation = "1";
              drivernode0 {
                status = "okay";
                pcl_id = "v4l2_sensor";
                devname = "gmsl2_sensor 32-005b";
                proc-device-tree = "/proc/device-tree/i2c@c240000/tca9546@70/i2c@2/cam4";
              };
            };

            camera_module5: module5 {
              status = "okay";
              badge = "gmsl2_sensor_5";
              position = "centerright";
              orientation = "1";
              drivernode0 {
                status = "okay";
                pcl_id = "v4l2_sensor";
                devname = "gmsl2_sensor 32-005c";
                proc-device-tree = "/proc/device-tree/i2c@c240000/tca9546@70/i2c@2/cam5";
              };
            };

            camera_module6: module6 {
              status = "okay";
              badge = "gmsl2_sensor_6";
              position = "centerleft";
              orientation = "1";
              drivernode0 {
                status = "okay";
                pcl_id = "v4l2_sensor";
                devname = "gmsl2_sensor 33-005b";
                proc-device-tree = "/proc/device-tree/i2c@c240000/tca9546@70/i2c@3/cam6";
              };
            };

            camera_module7: module7 {
              status = "okay";
              badge = "gmsl2_sensor_7";
              position = "bottomleft";
              orientation = "1";
              drivernode0 {
                status = "okay";
                pcl_id = "v4l2_sensor";
                devname = "gmsl2_sensor 33-005c";
                proc-device-tree = "/proc/device-tree/i2c@c240000/tca9546@70/i2c@3/cam7";
              };
            };
          }; // end modules
        }; // end tegra-camera-platform
      }; // end overlay
    }; // end fragment@9
};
